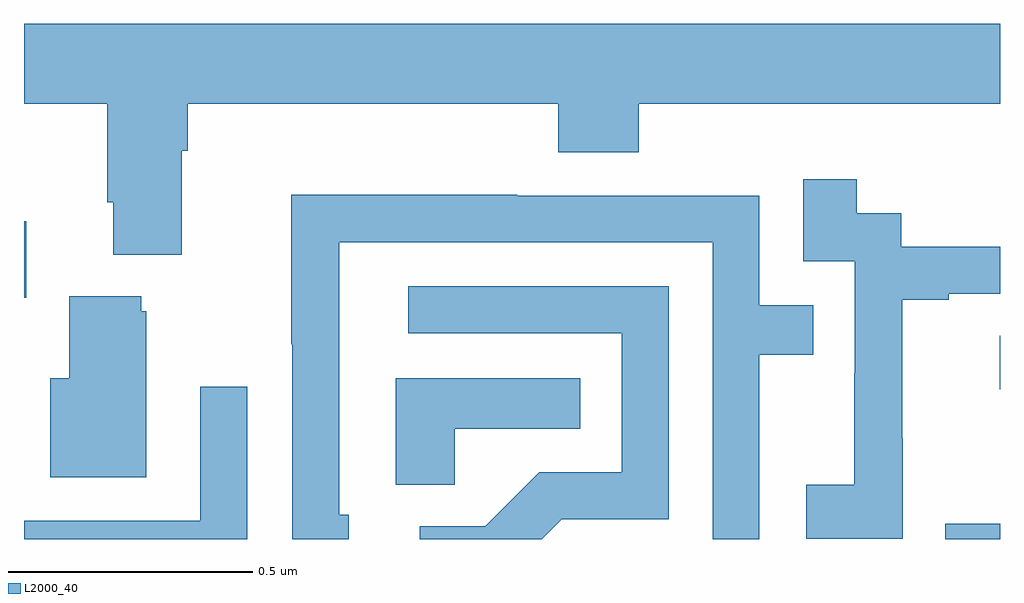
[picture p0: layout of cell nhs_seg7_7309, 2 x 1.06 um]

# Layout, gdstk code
import gdstk
lib = gdstk.Library(unit=1e-6, precision=1e-09)
def R(c, l, rs):  # rectangles x0, y0, x1, y1
    for r in rs: c.add(gdstk.rectangle(r[:2], r[2:], *l))
def P(c, l, *ps):  # polygons
    for p in ps: c.add(gdstk.Polygon(p, *l))
L2000_40 = (2000, 40)

nhs_seg7_7309 = lib.new_cell('nhs_seg7_7309')
R(nhs_seg7_7309, L2000_40, [(210.888,1057,211,1057.032), (210.999,1057.307,211,1057.417), (209,1057.495,209.005,1057.651)])
P(nhs_seg7_7309, L2000_40, [(209.323,1057.796),(209.336,1057.796),(209.336,1057.892),(210.095,1057.892),(210.095,1057.793),(210.26,1057.793),(210.26,1057.892),(211,1057.892),(211,1058.056),(209,1058.056),(209,1057.892),(209.171,1057.892),(209.171,1057.69),(209.183,1057.69),(209.183,1057.583),(209.323,1057.583)],
  [(210.801,1057.207),(210.8,1057.207),(210.8,1057.491),(210.895,1057.491),(210.895,1057.503),(211,1057.503),(211,1057.599),(210.798,1057.599),(210.798,1057.668),(210.706,1057.668),(210.706,1057.738),(210.597,1057.738),(210.597,1057.569),(210.702,1057.569),(210.702,1057.34),(210.701,1057.34),(210.701,1057.111),(210.603,1057.111),(210.603,1057.001),(210.801,1057.001)],
  [(209.665,1057.05),(209.646,1057.05),(209.646,1057.608),(210.411,1057.608),(210.411,1057),(210.507,1057),(210.507,1057.378),(210.617,1057.378),(210.617,1057.479),(210.507,1057.479),(210.507,1057.704),(210.011,1057.704),(210.011,1057.706),(209.548,1057.706),(209.548,1057.399),(209.55,1057.399),(209.55,1057),(209.665,1057)],
  [(210.102,1057.041),(210.321,1057.041),(210.321,1057.518),(209.787,1057.518),(209.787,1057.422),(210.225,1057.422),(210.225,1057.137),(210.056,1057.137),(209.945,1057.026),(209.811,1057.026),(209.811,1057),(210.061,1057)],
  [(209.251,1057.467),(209.24,1057.467),(209.24,1057.498),(209.093,1057.498),(209.093,1057.33),(209.054,1057.33),(209.054,1057.127),(209.251,1057.127)],
  [(209.883,1057.226),(210.14,1057.226),(210.14,1057.33),(209.762,1057.33),(209.762,1057.111),(209.883,1057.111)],
  [(209.457,1057.312),(209.361,1057.312),(209.361,1057.038),(209,1057.038),(209,1057),(209.457,1057)])

lib.write_gds('nhs_seg7_7309.gds')
